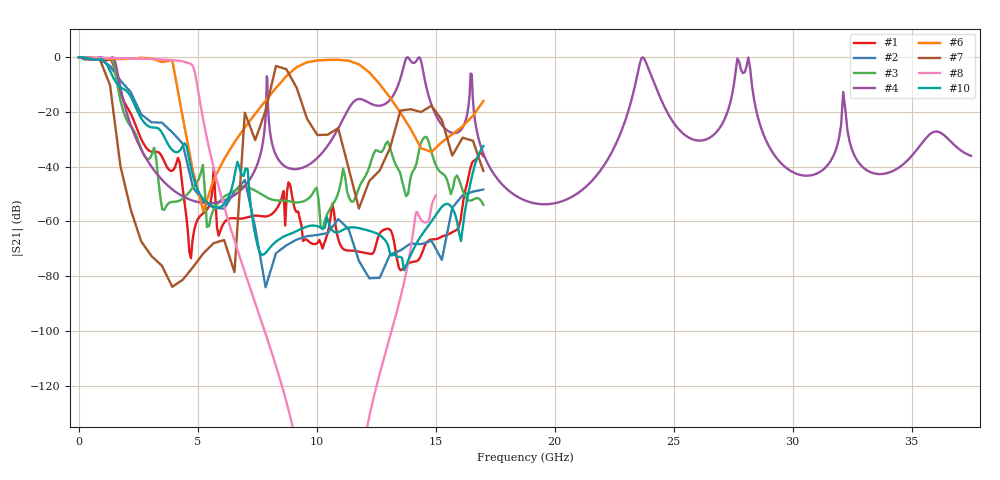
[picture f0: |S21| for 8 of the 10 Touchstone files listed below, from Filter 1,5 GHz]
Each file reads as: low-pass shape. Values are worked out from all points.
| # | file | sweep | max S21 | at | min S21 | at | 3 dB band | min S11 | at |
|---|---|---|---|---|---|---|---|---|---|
| 1 | current_filter.s2p | 1 MHz to 17 GHz | -0.01 dB | 1 MHz | -77.9 dB | 13.52 GHz | 1 MHz-1.435 GHz | -58.3 dB | 1 MHz |
| 2 | current_filter_2.s2p | 1 MHz to 17 GHz | -0.01 dB | 1 MHz | -84.0 dB | 7.847 GHz | 1 MHz-872.7 MHz | -59.3 dB | 1 MHz |
| 3 | current_filter_3.s2p | 1 MHz to 17 GHz | -0.01 dB | 1 MHz | -62.8 dB | 10.25 GHz | 1 MHz-1.453 GHz | -52.1 dB | 1 MHz |
| 4 | filter1.s2p | 150 MHz to 37.5 GHz | 0.00 dB | 890.9 MHz | -53.7 dB | 19.59 GHz | 150 MHz-1.556 GHz | -60.7 dB | 890.9 MHz |
| 5 | filthigh5MF.s2p | 1 MHz to 17 GHz | 0.00 dB | 1 MHz | -39.5 dB | 6.103 GHz | 9.59 GHz-13.95 GHz | -72.3 dB | 1 MHz |
| 6 | filthigh5theory.s2p | 1 MHz to 17 GHz | 0.00 dB | 1 MHz | -56.3 dB | 5.231 GHz | 1 MHz-3.924 GHz | -68.5 dB | 1 MHz |
| 7 | filtlow7.s2p | 1 MHz to 17 GHz | -0.01 dB | 1 MHz | -83.9 dB | 3.924 GHz | 1 MHz-872.7 MHz | -51.5 dB | 1 MHz |
| 8 | MIX2_LPF_4_8GHz_simulation.s2p | 18.75 MHz to 15 GHz | -0.02 dB | 18.75 MHz | -198.1 dB | 9.956 GHz | 18.75 MHz-4.763 GHz | -52.2 dB | 1.219 GHz |
| 9 | spartest1_copper.s2p | 1 MHz to 17 GHz | -0.01 dB | 1 MHz | -83.1 dB | 12.44 GHz | 1 MHz-1.279 GHz | -51.8 dB | 1 MHz |
| 10 | spartwofilter.s2p | 1 MHz to 17 GHz | -0.01 dB | 1 MHz | -77.9 dB | 13.67 GHz | 1 MHz-1.197 GHz | -57.7 dB | 1 MHz |
